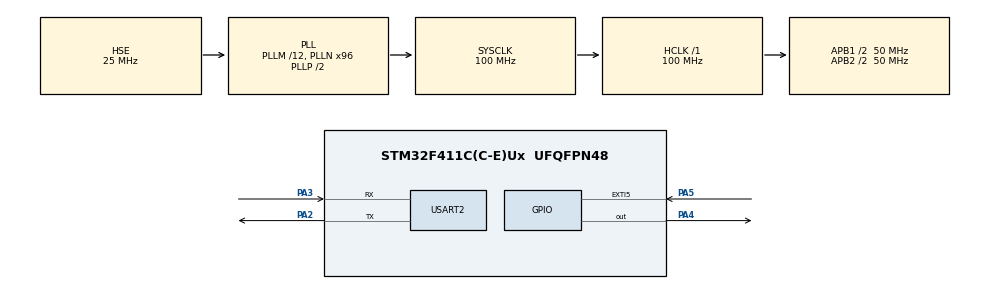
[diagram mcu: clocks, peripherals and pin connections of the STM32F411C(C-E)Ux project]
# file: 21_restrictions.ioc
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Mcu.Family=STM32F4
Mcu.Name=STM32F411C(C-E)Ux
Mcu.Package=UFQFPN48
NVIC.EXTI9_5_IRQn=true\:0\:0\:false\:false\:true\:true\:true\:true
NVIC.PriorityGroup=NVIC_PRIORITYGROUP_4
NVIC.TIM3_IRQn=true\:0\:0\:false\:false\:true\:true\:true\:true
PA2.Mode=Asynchronous
PA2.Signal=USART2_TX
PA3.Mode=Asynchronous
PA3.Signal=USART2_RX
PA4.Signal=GPIO_Output
PA5.GPIO_PuPd=GPIO_PULLUP
PA5.Signal=GPXTI5
PC14-OSC32_IN.Mode=LSE-External-Oscillator
PC14-OSC32_IN.Signal=RCC_OSC32_IN
PC15-OSC32_OUT.Mode=LSE-External-Oscillator
PC15-OSC32_OUT.Signal=RCC_OSC32_OUT
PH0\ -\ OSC_IN.Mode=HSE-External-Oscillator
PH0\ -\ OSC_IN.Signal=RCC_OSC_IN
PH1\ -\ OSC_OUT.Mode=HSE-External-Oscillator
PH1\ -\ OSC_OUT.Signal=RCC_OSC_OUT
ProjectManager.HeapSize=0x200
ProjectManager.StackSize=0x400
ProjectManager.TargetToolchain=STM32CubeIDE
RCC.48MHZClocksFreq_Value=50000000
RCC.AHBFreq_Value=100000000
RCC.APB1CLKDivider=RCC_HCLK_DIV2
RCC.APB1Freq_Value=50000000
RCC.APB1TimFreq_Value=100000000
RCC.APB2CLKDivider=RCC_HCLK_DIV2
RCC.APB2Freq_Value=50000000
RCC.APB2TimFreq_Value=100000000
RCC.CortexFreq_Value=100000000
RCC.HCLKFreq_Value=100000000
RCC.HSE_VALUE=25000000
RCC.HSI_VALUE=16000000
RCC.PLLM=12
RCC.PLLN=96
RCC.PLLSourceVirtual=RCC_PLLSOURCE_HSE
RCC.SYSCLKFreq_VALUE=100000000
RCC.SYSCLKSource=RCC_SYSCLKSOURCE_PLLCLK
RCC.VCOOutputFreq_Value=200000000
TIM3.Period=2999
TIM3.Prescaler=999
USART2.VirtualMode=VM_ASYNC
VP_TIM3_VS_ClockSourceINT.Mode=Internal
board=custom

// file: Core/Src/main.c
/* USER CODE BEGIN Header */
/**
 ******************************************************************************
 * @file           : main.c
 * @brief          : Main program body
 ******************************************************************************
 * @attention
 *
 * Copyright (c) 2026 STMicroelectronics.
 * All rights reserved.
 *
 * This software is licensed under terms that can be found in the LICENSE file
 * in the root directory of this software component.
 * If no LICENSE file comes with this software, it is provided AS-IS.
 *
 ******************************************************************************
 */
/* USER CODE END Header */
#include "main.h"

/* USER CODE BEGIN Includes */
#include "config.h"
#include "led.h"
#include "button.h"
#include "utils.h"

#include "stm32f4xx_hal_def.h"
#include "stm32f4xx_hal_gpio.h"
#include "stm32f4xx_hal_tim.h"
#include "stm32f4xx_hal_uart.h"

/* USER CODE END Includes */

TIM_HandleTypeDef htim3;

UART_HandleTypeDef huart2;

/* USER CODE BEGIN PV */
static Led led;
static volatile Button button;

/* USER CODE END PV */

void SystemClock_Config(void);
static void MX_GPIO_Init(void);
static void MX_USART2_UART_Init(void);
static void MX_TIM3_Init(void);

/* USER CODE BEGIN 0 */
void HAL_GPIO_EXTI_Callback(uint16_t GPIO_Pin)
{
    if ((GPIO_Pin == GPIO_PIN_5) && (button.is_in_debounce == 0))
    {
        __HAL_TIM_SET_COUNTER(&htim3, 0);
        __HAL_TIM_CLEAR_FLAG(&htim3, TIM_FLAG_UPDATE);
        __HAL_TIM_ENABLE_IT(&htim3, TIM_IT_UPDATE);
        HAL_TIM_Base_Start_IT(&htim3);

        button.is_in_debounce = 1;
        button.raw = HAL_GPIO_ReadPin(CONFIG_BUTTON_GPIO, CONFIG_BUTTON_PIN);
        button.press_time = HAL_GetTick();
    }
}

void HAL_TIM_PeriodElapsedCallback(TIM_HandleTypeDef *htim)
{
    if ((htim->Instance == TIM3) && (button.is_in_debounce == 1))
    {
        HAL_TIM_Base_Stop_IT(&htim3);
        __HAL_TIM_DISABLE_IT(&htim3, TIM_IT_UPDATE);

        button.is_in_debounce = 0;
        if (button.raw == HAL_GPIO_ReadPin(CONFIG_BUTTON_GPIO, CONFIG_BUTTON_PIN))
        {
            button.state = BUTTON_EVENT_PENDING;
            button.timer_time = HAL_GetTick();
        }
    }
}

/* USER CODE END 0 */

int main(void)
{

    /* USER CODE BEGIN 1 */
    uint32_t time_now = HAL_GetTick();
    uint32_t time_last_main_loop_log = 0U;
    uint32_t time_last_loop = 0U;

    Led_Pattern led_pattern = LED_PATTERN_BLINK;

    /* USER CODE END 1 */

    /* MCU Configuration--------------------------------------------------------*/

    /* Reset of all peripherals, Initializes the Flash interface and the Systick. */
    HAL_Init();

    /* Configure the system clock */
    SystemClock_Config();

    /* Initialize all configured peripherals */
    MX_GPIO_Init();
    MX_USART2_UART_Init();
    MX_TIM3_Init();
    /* USER CODE BEGIN 2 */
    Led_Init(&led, CONFIG_LED_GPIO, CONFIG_LED_PIN);
    Button_Init(&button, CONFIG_BUTTON_GPIO, CONFIG_BUTTON_PIN);

    /* USER CODE END 2 */

    /* Infinite loop */
    /* USER CODE BEGIN WHILE */
    Log_Write(&huart2, "Board started");
    while (1)
    {
        time_last_loop = time_now;
        time_now = HAL_GetTick();

        INTERVAL_ACTION(CONFIG_MAIN_LOOP_UPDATE_MS, time_now, time_last_main_loop_log)
        {
            Log_Write(&huart2, "main loop execution time: %lu", (uint32_t)(time_now - time_last_loop));
            time_last_main_loop_log = time_now;
        }

        INTERVAL_ACTION(CONFIG_BUTTON_UPDATE_MS, time_now, button.time_last_update)
        {
            if (button.state == BUTTON_EVENT_PENDING)
            {
                Log_Write(&huart2,
                          "Button is pressed: press_time(%u) | timer_time(%u) | diff(%u)",
                          button.press_time, button.timer_time,
                          (uint32_t)(button.timer_time - button.press_time));
                led_pattern = (led_pattern == LED_PATTERN_OFF)
                            ? LED_PATTERN_BLINK
                            : (led_pattern + 1);
                button.state = BUTTON_EVENT_HANDLED;
            }
            button.time_last_update = time_now;
        }

        INTERVAL_ACTION(CONFIG_LED_UPDATE_MS, time_now, led.time_last_update)
        {
            switch (led_pattern)
            {
                case LED_PATTERN_BLINK:
                    Led_Toggle(&led);
                    Log_Write(&huart2, "Led is blinking");
                    break;
                case LED_PATTERN_ON:
                    Led_SetState(&led, LED_STATE_ON);
                    Log_Write(&huart2, "Led is on");
                    break;
                case LED_PATTERN_OFF:
                    Led_SetState(&led, LED_STATE_OFF);
                    Log_Write(&huart2, "Led is off");
                    break;
            }
            led.time_last_update = time_now;
        }

        /* USER CODE END WHILE */

    }
}

void SystemClock_Config(void)
{
    RCC_OscInitTypeDef RCC_OscInitStruct =
    { 0 };
    RCC_ClkInitTypeDef RCC_ClkInitStruct =
    { 0 };

    /** Configure the main internal regulator output voltage
     */
    __HAL_RCC_PWR_CLK_ENABLE();
    __HAL_PWR_VOLTAGESCALING_CONFIG(PWR_REGULATOR_VOLTAGE_SCALE1);

    /** Initializes the RCC Oscillators according to the specified parameters
     * in the RCC_OscInitTypeDef structure.
     */
    RCC_OscInitStruct.OscillatorType = RCC_OSCILLATORTYPE_HSE;
    RCC_OscInitStruct.HSEState = RCC_HSE_ON;
    RCC_OscInitStruct.PLL.PLLState = RCC_PLL_ON;
    RCC_OscInitStruct.PLL.PLLSource = RCC_PLLSOURCE_HSE;
    RCC_OscInitStruct.PLL.PLLM = 12;
    RCC_OscInitStruct.PLL.PLLN = 96;
    RCC_OscInitStruct.PLL.PLLP = RCC_PLLP_DIV2;
    RCC_OscInitStruct.PLL.PLLQ = 4;
    if (HAL_RCC_OscConfig(&RCC_OscInitStruct) != HAL_OK)
    {
        Error_Handler();
    }

    /** Initializes the CPU, AHB and APB buses clocks
     */
    RCC_ClkInitStruct.ClockType = RCC_CLOCKTYPE_HCLK | RCC_CLOCKTYPE_SYSCLK
            | RCC_CLOCKTYPE_PCLK1 | RCC_CLOCKTYPE_PCLK2;
    RCC_ClkInitStruct.SYSCLKSource = RCC_SYSCLKSOURCE_PLLCLK;
    RCC_ClkInitStruct.AHBCLKDivider = RCC_SYSCLK_DIV1;
    RCC_ClkInitStruct.APB1CLKDivider = RCC_HCLK_DIV2;
    RCC_ClkInitStruct.APB2CLKDivider = RCC_HCLK_DIV2;

    if (HAL_RCC_ClockConfig(&RCC_ClkInitStruct, FLASH_LATENCY_3) != HAL_OK)
    {
        Error_Handler();
    }
}

static void MX_TIM3_Init(void)
{

    TIM_ClockConfigTypeDef sClockSourceConfig =
    { 0 };
    TIM_MasterConfigTypeDef sMasterConfig =
    { 0 };

    htim3.Instance = TIM3;
    htim3.Init.Prescaler = 999;
    htim3.Init.CounterMode = TIM_COUNTERMODE_UP;
    htim3.Init.Period = 2999;
    htim3.Init.ClockDivision = TIM_CLOCKDIVISION_DIV1;
    htim3.Init.AutoReloadPreload = TIM_AUTORELOAD_PRELOAD_DISABLE;
    if (HAL_TIM_Base_Init(&htim3) != HAL_OK)
    {
        Error_Handler();
    }
    sClockSourceConfig.ClockSource = TIM_CLOCKSOURCE_INTERNAL;
    if (HAL_TIM_ConfigClockSource(&htim3, &sClockSourceConfig) != HAL_OK)
    {
        Error_Handler();
    }
    sMasterConfig.MasterOutputTrigger = TIM_TRGO_RESET;
    sMasterConfig.MasterSlaveMode = TIM_MASTERSLAVEMODE_DISABLE;
    if (HAL_TIMEx_MasterConfigSynchronization(&htim3, &sMasterConfig) != HAL_OK)
    {
        Error_Handler();
    }

}

static void MX_USART2_UART_Init(void)
{

    huart2.Instance = USART2;
    huart2.Init.BaudRate = 115200;
    huart2.Init.WordLength = UART_WORDLENGTH_8B;
    huart2.Init.StopBits = UART_STOPBITS_1;
    huart2.Init.Parity = UART_PARITY_NONE;
    huart2.Init.Mode = UART_MODE_TX_RX;
    huart2.Init.HwFlowCtl = UART_HWCONTROL_NONE;
    huart2.Init.OverSampling = UART_OVERSAMPLING_16;
    if (HAL_UART_Init(&huart2) != HAL_OK)
    {
        Error_Handler();
    }

}

static void MX_GPIO_Init(void)
{
    GPIO_InitTypeDef GPIO_InitStruct =
    { 0 };

    /* GPIO Ports Clock Enable */
    __HAL_RCC_GPIOC_CLK_ENABLE();
    __HAL_RCC_GPIOH_CLK_ENABLE();
    __HAL_RCC_GPIOA_CLK_ENABLE();

    /*Configure GPIO pin Output Level */
    HAL_GPIO_WritePin(GPIOA, GPIO_PIN_4, GPIO_PIN_RESET);

    /*Configure GPIO pin : PA4 */
    GPIO_InitStruct.Pin = GPIO_PIN_4;
    GPIO_InitStruct.Mode = GPIO_MODE_OUTPUT_PP;
    GPIO_InitStruct.Pull = GPIO_NOPULL;
    GPIO_InitStruct.Speed = GPIO_SPEED_FREQ_LOW;
    HAL_GPIO_Init(GPIOA, &GPIO_InitStruct);

    /*Configure GPIO pin : PA5 */
    GPIO_InitStruct.Pin = GPIO_PIN_5;
    GPIO_InitStruct.Mode = GPIO_MODE_IT_RISING;
    GPIO_InitStruct.Pull = GPIO_PULLUP;
    HAL_GPIO_Init(GPIOA, &GPIO_InitStruct);

    /* EXTI interrupt init*/
    HAL_NVIC_SetPriority(EXTI9_5_IRQn, 0, 0);
    HAL_NVIC_EnableIRQ(EXTI9_5_IRQn);

}

void Error_Handler(void)
{
    __disable_irq();
    while (1)
    {
    }
}
#ifdef USE_FULL_ASSERT
/**
  * @brief  Reports the name of the source file and the source line number
  *         where the assert_param error has occurred.
  * @param  file: pointer to the source file name
  * @param  line: assert_param error line source number
  * @retval None
  */
void assert_failed(uint8_t *file, uint32_t line)
{
  /* USER CODE BEGIN 6 */
  /* User can add his own implementation to report the file name and line number,
     printf("Wrong parameters value: file %s on line %d\r\n", file, line) */
  /* USER CODE END 6 */
}
#endif /* USE_FULL_ASSERT */
